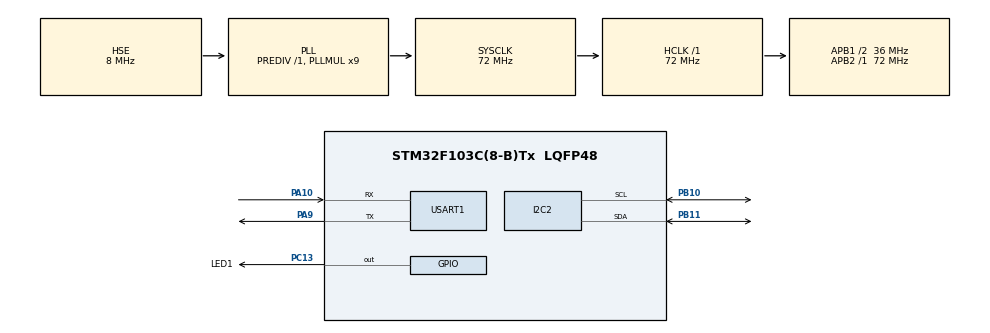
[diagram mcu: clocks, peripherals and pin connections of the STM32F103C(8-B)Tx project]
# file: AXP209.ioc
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Mcu.Family=STM32F1
Mcu.Name=STM32F103C(8-B)Tx
Mcu.Package=LQFP48
NVIC.PriorityGroup=NVIC_PRIORITYGROUP_4
PA10.Mode=Asynchronous
PA10.Signal=USART1_RX
PA13.Mode=Serial_Wire
PA13.Signal=SYS_JTMS-SWDIO
PA14.Mode=Serial_Wire
PA14.Signal=SYS_JTCK-SWCLK
PA9.Mode=Asynchronous
PA9.Signal=USART1_TX
PB10.Mode=I2C
PB10.Signal=I2C2_SCL
PB11.Mode=I2C
PB11.Signal=I2C2_SDA
PC13-TAMPER-RTC.GPIO_Label=LED1
PC13-TAMPER-RTC.Signal=GPIO_Output
PD0-OSC_IN.Mode=HSE-External-Oscillator
PD0-OSC_IN.Signal=RCC_OSC_IN
PD1-OSC_OUT.Mode=HSE-External-Oscillator
PD1-OSC_OUT.Signal=RCC_OSC_OUT
ProjectManager.HeapSize=0x2000
ProjectManager.StackSize=0x4000
ProjectManager.TargetToolchain=MDK-ARM V5.27
RCC.AHBFreq_Value=72000000
RCC.APB1CLKDivider=RCC_HCLK_DIV2
RCC.APB1Freq_Value=36000000
RCC.APB1TimFreq_Value=72000000
RCC.APB2Freq_Value=72000000
RCC.APB2TimFreq_Value=72000000
RCC.HCLKFreq_Value=72000000
RCC.PLLMUL=RCC_PLL_MUL9
RCC.PLLSourceVirtual=RCC_PLLSOURCE_HSE
RCC.SYSCLKFreq_VALUE=72000000
RCC.SYSCLKSource=RCC_SYSCLKSOURCE_PLLCLK
RCC.USBFreq_Value=72000000
USART1.VirtualMode=VM_ASYNC
board=custom

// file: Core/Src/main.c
/* USER CODE BEGIN Header */
/**
  ******************************************************************************
  * @file           : main.c
  * @brief          : Main program body
  ******************************************************************************
  * @attention
  *
  * <h2><center>&copy; Copyright (c) 2021 STMicroelectronics.
  * All rights reserved.</center></h2>
  *
  * This software component is licensed by ST under BSD 3-Clause license,
  * the "License"; You may not use this file except in compliance with the
  * License. You may obtain a copy of the License at:
  *                        opensource.org/licenses/BSD-3-Clause
  *
  ******************************************************************************
  */
/* USER CODE END Header */
#include "main.h"

/* USER CODE BEGIN Includes */
	#include "string.h"
	#include "stdlib.h"
	#include "stdio.h"
/* USER CODE END Includes */

I2C_HandleTypeDef hi2c2;

UART_HandleTypeDef huart1;

void SystemClock_Config(void);
static void MX_GPIO_Init(void);
static void MX_I2C2_Init(void);
static void MX_USART1_UART_Init(void);
/* USER CODE BEGIN PFP */
	void ReadByte(uint8_t address);
	void WirteByte(uint8_t address, uint8_t data);

/* USER CODE END PFP */

int main(void)
{
  /* USER CODE BEGIN 1 */
			HAL_StatusTypeDef ret;

  /* USER CODE END 1 */

  /* MCU Configuration--------------------------------------------------------*/

  /* Reset of all peripherals, Initializes the Flash interface and the Systick. */
  HAL_Init();

  /* Configure the system clock */
  SystemClock_Config();

  /* Initialize all configured peripherals */
  MX_GPIO_Init();
  MX_I2C2_Init();
  MX_USART1_UART_Init();
  /* USER CODE BEGIN 2 */
	uint8_t Buffer[25] = {0};
//			ret = HAL_I2C_IsDeviceReady(&hi2c2, 0x68, 3, HAL_MAX_DELAY);
//			if (ret != HAL_OK)
//			{
//				for (int i = 0; i < 5; i++)
//				{
//					HAL_UART_Transmit(&huart1,(uint8_t*) "The deivce is not ready! \r\n", strlen("The deivce is not ready! \r\n"), HAL_MAX_DELAY);
//				}
//			}
 HAL_UART_Transmit(&huart1,(uint8_t*) "Searching is started \r\n", sizeof("Searching is started \r\n"), HAL_MAX_DELAY);
    for(int i=1; i<128; i++)
    {
        ret = HAL_I2C_IsDeviceReady(&hi2c2, (uint16_t)(i<<1), 3, HAL_MAX_DELAY);
        if (ret != HAL_OK) /* No ACK Received At That Address */
        {
            HAL_UART_Transmit(&huart1,(uint8_t*) " - ", sizeof(" - "), HAL_MAX_DELAY);
        }
        else if(ret == HAL_OK)
        {
            sprintf((char*)Buffer, "0x%X", i);
            HAL_UART_Transmit(&huart1, Buffer, sizeof(Buffer), HAL_MAX_DELAY);
        }
    }
    HAL_UART_Transmit(&huart1,(uint8_t*) "Finished\r\n", sizeof("Finished\r\n"), HAL_MAX_DELAY);
  /* USER CODE END 2 */

  /* Infinite loop */
  while (1)
  {

    /* USER CODE BEGIN 3 */
  }

}

	void WirteByte(uint8_t address, uint8_t data)
	{

	}

	void ReadByte(uint8_t address)
	{

	}
/* USER CODE END 3 */
void SystemClock_Config(void)
{
  RCC_OscInitTypeDef RCC_OscInitStruct = {0};
  RCC_ClkInitTypeDef RCC_ClkInitStruct = {0};

  /** Initializes the RCC Oscillators according to the specified parameters
  * in the RCC_OscInitTypeDef structure.
  */
  RCC_OscInitStruct.OscillatorType = RCC_OSCILLATORTYPE_HSE;
  RCC_OscInitStruct.HSEState = RCC_HSE_ON;
  RCC_OscInitStruct.HSEPredivValue = RCC_HSE_PREDIV_DIV1;
  RCC_OscInitStruct.HSIState = RCC_HSI_ON;
  RCC_OscInitStruct.PLL.PLLState = RCC_PLL_ON;
  RCC_OscInitStruct.PLL.PLLSource = RCC_PLLSOURCE_HSE;
  RCC_OscInitStruct.PLL.PLLMUL = RCC_PLL_MUL9;
  if (HAL_RCC_OscConfig(&RCC_OscInitStruct) != HAL_OK)
  {
    Error_Handler();
  }
  /** Initializes the CPU, AHB and APB buses clocks
  */
  RCC_ClkInitStruct.ClockType = RCC_CLOCKTYPE_HCLK|RCC_CLOCKTYPE_SYSCLK
                              |RCC_CLOCKTYPE_PCLK1|RCC_CLOCKTYPE_PCLK2;
  RCC_ClkInitStruct.SYSCLKSource = RCC_SYSCLKSOURCE_PLLCLK;
  RCC_ClkInitStruct.AHBCLKDivider = RCC_SYSCLK_DIV1;
  RCC_ClkInitStruct.APB1CLKDivider = RCC_HCLK_DIV2;
  RCC_ClkInitStruct.APB2CLKDivider = RCC_HCLK_DIV1;

  if (HAL_RCC_ClockConfig(&RCC_ClkInitStruct, FLASH_LATENCY_2) != HAL_OK)
  {
    Error_Handler();
  }
}

static void MX_I2C2_Init(void)
{

  hi2c2.Instance = I2C2;
  hi2c2.Init.ClockSpeed = 100000;
  hi2c2.Init.DutyCycle = I2C_DUTYCYCLE_2;
  hi2c2.Init.OwnAddress1 = 0;
  hi2c2.Init.AddressingMode = I2C_ADDRESSINGMODE_7BIT;
  hi2c2.Init.DualAddressMode = I2C_DUALADDRESS_DISABLE;
  hi2c2.Init.OwnAddress2 = 0;
  hi2c2.Init.GeneralCallMode = I2C_GENERALCALL_DISABLE;
  hi2c2.Init.NoStretchMode = I2C_NOSTRETCH_DISABLE;
  if (HAL_I2C_Init(&hi2c2) != HAL_OK)
  {
    Error_Handler();
  }

}

static void MX_USART1_UART_Init(void)
{

  huart1.Instance = USART1;
  huart1.Init.BaudRate = 115200;
  huart1.Init.WordLength = UART_WORDLENGTH_8B;
  huart1.Init.StopBits = UART_STOPBITS_1;
  huart1.Init.Parity = UART_PARITY_NONE;
  huart1.Init.Mode = UART_MODE_TX_RX;
  huart1.Init.HwFlowCtl = UART_HWCONTROL_NONE;
  huart1.Init.OverSampling = UART_OVERSAMPLING_16;
  if (HAL_UART_Init(&huart1) != HAL_OK)
  {
    Error_Handler();
  }

}

static void MX_GPIO_Init(void)
{
  GPIO_InitTypeDef GPIO_InitStruct = {0};

  /* GPIO Ports Clock Enable */
  __HAL_RCC_GPIOC_CLK_ENABLE();
  __HAL_RCC_GPIOD_CLK_ENABLE();
  __HAL_RCC_GPIOB_CLK_ENABLE();
  __HAL_RCC_GPIOA_CLK_ENABLE();

  /*Configure GPIO pin Output Level */
  HAL_GPIO_WritePin(LED1_GPIO_Port, LED1_Pin, GPIO_PIN_RESET);

  /*Configure GPIO pin : LED1_Pin */
  GPIO_InitStruct.Pin = LED1_Pin;
  GPIO_InitStruct.Mode = GPIO_MODE_OUTPUT_PP;
  GPIO_InitStruct.Pull = GPIO_NOPULL;
  GPIO_InitStruct.Speed = GPIO_SPEED_FREQ_LOW;
  HAL_GPIO_Init(LED1_GPIO_Port, &GPIO_InitStruct);

}

void Error_Handler(void)
{
  __disable_irq();
  while (1)
  {
  }
}

/************************ (C) COPYRIGHT STMicroelectronics *****END OF FILE****/
